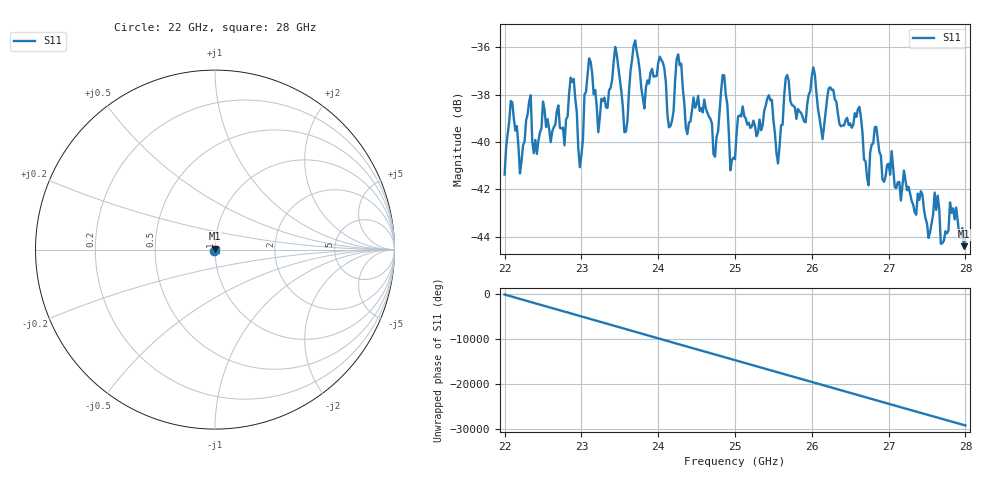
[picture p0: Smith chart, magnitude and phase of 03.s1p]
#  HZ  S  RI  R  50.00
! Rohde & Schwarz ZVA40 4Ports - Version 3.90 - 1145.1110k42 SN: 100403
! Date: 2023-10-04 10:16:50
! Measurement: S12
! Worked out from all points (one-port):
!   301 points, 22 GHz to 28 GHz, reference 50 ohm
!   lowest |S11| = -44.4 dB at 27.98 GHz (marker M1), VSWR 1.01, Z = 50.1 + j0.588 ohm
!   |S11| at or under -10 dB: start of sweep to end of sweep
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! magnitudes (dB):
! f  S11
! 22 GHz  -41.4
! 22.08 GHz  -38.3
! 22.2 GHz  -41.3
! 22.34 GHz  -38.0
! 22.38 GHz  -40.5
! 22.76 GHz  -39.4
! 22.9 GHz  -37.3
! 22.98 GHz  -41.1
! 23.1 GHz  -36.5
! 23.22 GHz  -39.6
! 23.5 GHz  -37.3
! 23.58 GHz  -39.6
! 23.7 GHz  -35.7
! 23.82 GHz  -38.6
! 24.02 GHz  -36.4
! 24.14 GHz  -39.4
! 24.26 GHz  -36.3
! 24.38 GHz  -39.7
! 24.6 GHz  -38.2
! 24.74 GHz  -40.6
! 24.86 GHz  -37.2
! 24.94 GHz  -41.2
! 25 GHz  -40.7
! 25.76 GHz  -38.5
! 26.5 GHz  -39.2
! 27.26 GHz  -41.9
! 27.98 GHz  -44.4
! 28 GHz  -43.9
